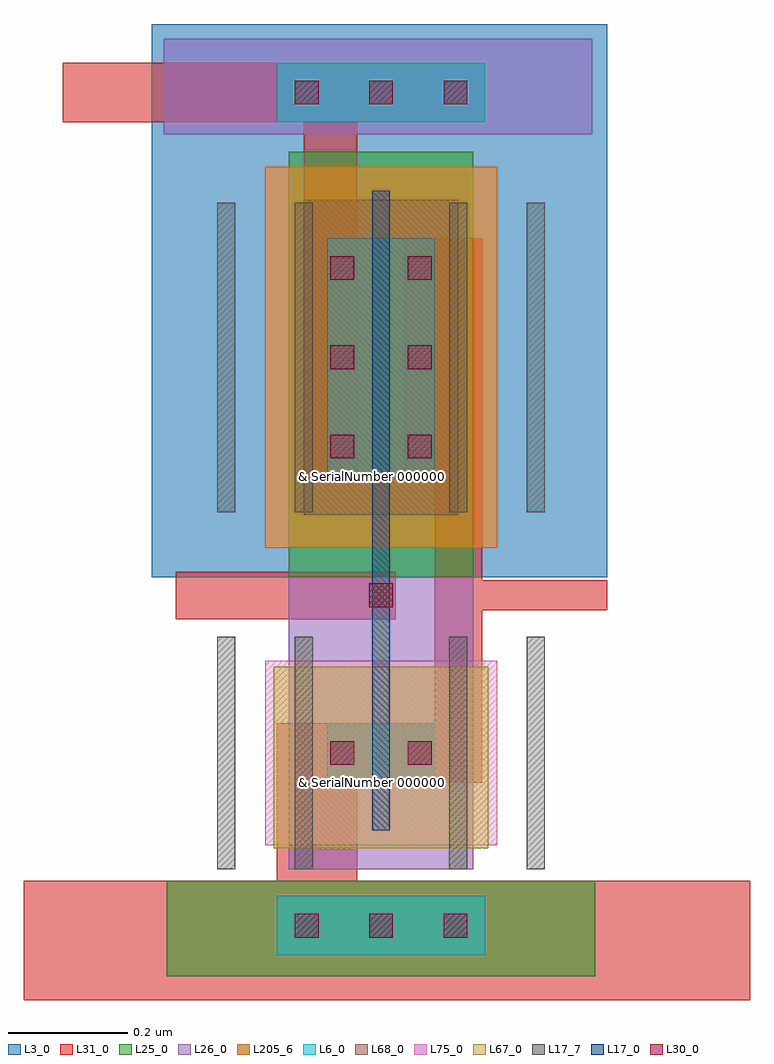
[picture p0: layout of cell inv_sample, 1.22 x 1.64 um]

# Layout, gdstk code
import gdstk
lib = gdstk.Library(unit=1e-6, precision=1e-09)
def R(c, l, rs):  # rectangles x0, y0, x1, y1
    for r in rs: c.add(gdstk.rectangle(r[:2], r[2:], *l))
def A(c, l, x, y, w, h, nx, ny, dx, dy):  # array of equal rectangles
    R(c, l, [(x+i*dx, y+j*dy, x+i*dx+w, y+j*dy+h) for i in range(nx) for j in range(ny)])
def P(c, l, *ps):  # polygons
    for p in ps: c.add(gdstk.Polygon(p, *l))
L3_0 = (3, 0)
L6_0 = (6, 0)
L17_0 = (17, 0)
L17_7 = (17, 7)
L25_0 = (25, 0)
L26_0 = (26, 0)
L30_0 = (30, 0)
L31_0 = (31, 0)
L67_0 = (67, 0)
L68_0 = (68, 0)
L75_0 = (75, 0)
L205_6 = (205, 6)

inv_sample = lib.new_cell('inv_sample')
R(inv_sample, L3_0, [(0.425,1.415,1.19,2.345)])
R(inv_sample, L6_0, [(0.635,0.78,0.985,0.88), (0.72,1.07,0.9,1.17), (0.72,1.585,0.9,1.985), (0.635,2.18,0.985,2.28)])
R(inv_sample, L17_0, [(0.795,0.99,0.825,2.065)])
R(inv_sample, L17_7, [(0.535,0.925,0.565,1.315), (0.665,0.925,0.695,1.315), (0.925,0.925,0.955,1.315), (1.055,0.925,1.085,1.315), (0.535,1.525,0.565,2.045), (0.665,1.525,0.695,2.045), (0.925,1.525,0.955,2.045), (1.055,1.525,1.085,2.045)])
R(inv_sample, L25_0, [(0.45,0.745,1.17,0.905), (0.655,1.415,0.965,2.13)])
R(inv_sample, L26_0, [(0.655,0.925,0.965,1.415), (0.445,2.16,1.165,2.32)])
A(inv_sample, L30_0, 0.665, 0.81, 0.04, 0.04, 3, 2, 0.125, 1.4)
A(inv_sample, L30_0, 0.725, 1.615, 0.04, 0.04, 1, 3, 0, 0.15)
A(inv_sample, L30_0, 0.855, 1.615, 0.04, 0.04, 1, 3, 0, 0.15)
R(inv_sample, L30_0, [(0.725,1.1,0.765,1.14), (0.855,1.1,0.895,1.14), (0.79,1.365,0.83,1.405)])
R(inv_sample, L31_0, [(0.465,1.345,0.835,1.425)])
P(inv_sample, L31_0, [(1.43,0.905),(0.77,0.905),(0.77,1.17),(0.635,1.17),(0.635,0.905),(0.21,0.905),(0.21,0.705),(1.43,0.705)],
  [(0.985,2.28),(0.275,2.28),(0.275,2.18),(0.68,2.18),(0.68,1.585),(0.77,1.585),(0.77,2.18),(0.985,2.18)],
  [(1.19,1.41),(0.98,1.41),(0.98,1.985),(0.85,1.985),(0.85,1.585),(0.9,1.585),(0.9,1.17),(0.85,1.17),(0.85,1.07),(0.98,1.07),(0.98,1.36),(1.19,1.36)])
R(inv_sample, L67_0, [(0.63,0.96,0.99,1.265)])
R(inv_sample, L68_0, [(0.68,1.52,0.94,2.05)])
R(inv_sample, L75_0, [(0.615,0.965,1.005,1.275)])
R(inv_sample, L205_6, [(0.615,1.465,1.005,2.105)])
inv_sample.add(gdstk.Label('& SerialNumber 000000', (0.795,1.07), layer=63, texttype=63))
inv_sample.add(gdstk.Label('& Distributor TSMC', (0.795,1.07), layer=63, texttype=63))
inv_sample.add(gdstk.Label('& Metric 1', (0.795,1.07), layer=63, texttype=63))
inv_sample.add(gdstk.Label('& PDK Version "tsmcN28_CRN28HPC+ULL_v1.8_2p2a_20190531"', (0.795,1.07), layer=63, texttype=63))
inv_sample.add(gdstk.Label('& PDK TechNode "CRN28HPC+ULL"', (0.795,1.07), layer=63, texttype=63))
inv_sample.add(gdstk.Label('& Product tsmcN28_PDK', (0.795,1.07), layer=63, texttype=63))
inv_sample.add(gdstk.Label('& Vendor  Taiwan Semiconductor manufacturing Corp.', (0.795,1.07), layer=63, texttype=63))
inv_sample.add(gdstk.Label('& SerialNumber 000000', (0.795,1.585), layer=63, texttype=63))
inv_sample.add(gdstk.Label('& Distributor TSMC', (0.795,1.585), layer=63, texttype=63))
inv_sample.add(gdstk.Label('& Metric 1', (0.795,1.585), layer=63, texttype=63))
inv_sample.add(gdstk.Label('& PDK Version "tsmcN28_CRN28HPC+ULL_v1.8_2p2a_20190531"', (0.795,1.585), layer=63, texttype=63))
inv_sample.add(gdstk.Label('& PDK TechNode "CRN28HPC+ULL"', (0.795,1.585), layer=63, texttype=63))
inv_sample.add(gdstk.Label('& Product tsmcN28_PDK', (0.795,1.585), layer=63, texttype=63))
inv_sample.add(gdstk.Label('& Vendor  Taiwan Semiconductor manufacturing Corp.', (0.795,1.585), layer=63, texttype=63))

lib.write_gds('inv_sample.gds')
